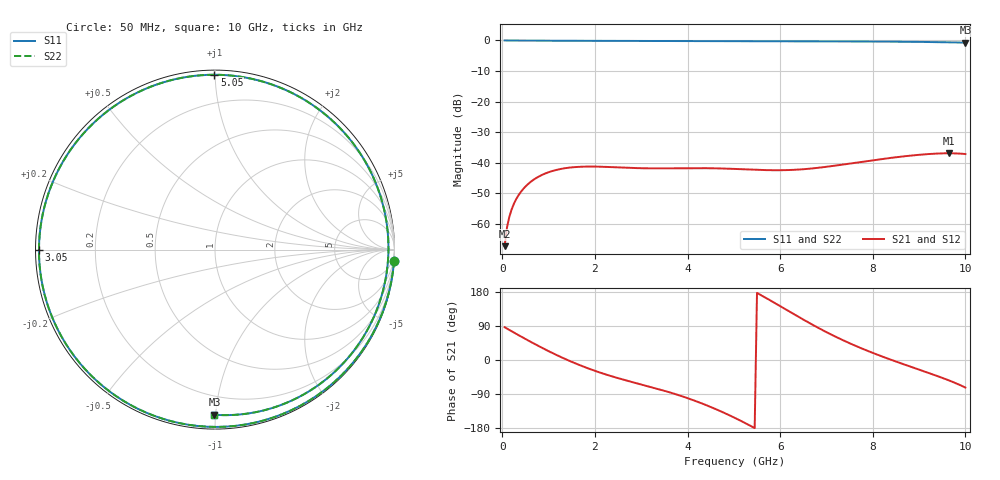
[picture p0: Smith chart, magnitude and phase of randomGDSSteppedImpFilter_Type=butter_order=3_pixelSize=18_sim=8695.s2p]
! freq	dB(S11)	phase(S11)	dB(S12)	phase(S12)
!  dB(S21)	phase(S21)	dB(S22)	phase(S22)
!S-par simulation data
#  GHz  S  DB  R 50
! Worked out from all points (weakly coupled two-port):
!   200 points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, 50 MHz to 10 GHz, reference 50 ohm
!   highest |S21| = -36.89 dB at 9.65 GHz (marker M1); lowest = -67.3 dB at 50 MHz (marker M2)
!   lowest |S11| = -0.7 dB at 10 GHz (marker M3), VSWR 24.05, Z = 4.14 - j49.7 ohm
!   |S11| at or under -10 dB: nowhere
!   |S22| runs from -0.7 to 0.0 dB; largest |S21 - S12| = 0
!   S11 on the Smith chart (normalised r, x): 50 MHz: 0, -32; 3.05 GHz: 0.01, -0.00; 5.05 GHz: 0.03, +1.00; 10 GHz: 0.08, -0.99
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0.05  -0.00 -3.5  -67.25 86.5  -67.25 86.5  -0.00 -3.5
0.1  -0.01 -7.1  -61.25 82.9  -61.25 82.9  -0.01 -7.1
0.2  -0.02 -14.0  -55.30 75.9  -55.30 75.9  -0.02 -14.0
0.35  -0.03 -24.4  -50.61 65.6  -50.61 65.6  -0.03 -24.4
0.5  -0.04 -34.7  -47.76 55.4  -47.76 55.4  -0.04 -34.7
0.8  -0.07 -54.8  -44.39 35.8  -44.39 35.8  -0.07 -54.8
1.1  -0.09 -74.1  -42.60 17.4  -42.60 17.4  -0.09 -74.1
1.4  -0.11 -92.6  -41.67 0.4  -41.67 0.4  -0.11 -92.6
1.75  -0.12 -112.9  -41.26 -17.3  -41.26 -17.3  -0.12 -112.9
2.4  -0.15 -147.8  -41.44 -44.3  -41.44 -44.3  -0.15 -147.8
3.05  -0.17 -179.9  -41.78 -66.1  -41.78 -66.1  -0.17 -179.9
3.4  -0.18 163.7  -41.82 -77.7  -41.82 -77.7  -0.18 163.7
4.25  -0.21 125.2  -41.74 -111.8  -41.74 -111.8  -0.21 125.2
4.65  -0.22 107.6  -41.82 -131.8  -41.82 -131.8  -0.22 107.5
5.05  -0.23 90.2  -42.02 -154.4  -42.02 -154.4  -0.23 90.2
5.8  -0.25 58.5  -42.42 156.4  -42.42 156.4  -0.25 58.5
6.7  -0.27 22.6  -41.83 93.0  -41.83 93.0  -0.27 22.5
7.5  -0.31 -7.0  -40.25 44.2  -40.25 44.2  -0.31 -7.1
8.35  -0.38 -36.1  -38.47 2.6  -38.47 2.6  -0.38 -36.1
9  -0.47 -57.2  -37.38 -25.4  -37.38 -25.4  -0.47 -57.2
9.65  -0.61 -78.2  -36.89 -54.1  -36.89 -54.1  -0.61 -78.3
10  -0.72 -90.2  -37.14 -72.8  -37.14 -72.8  -0.72 -90.2
